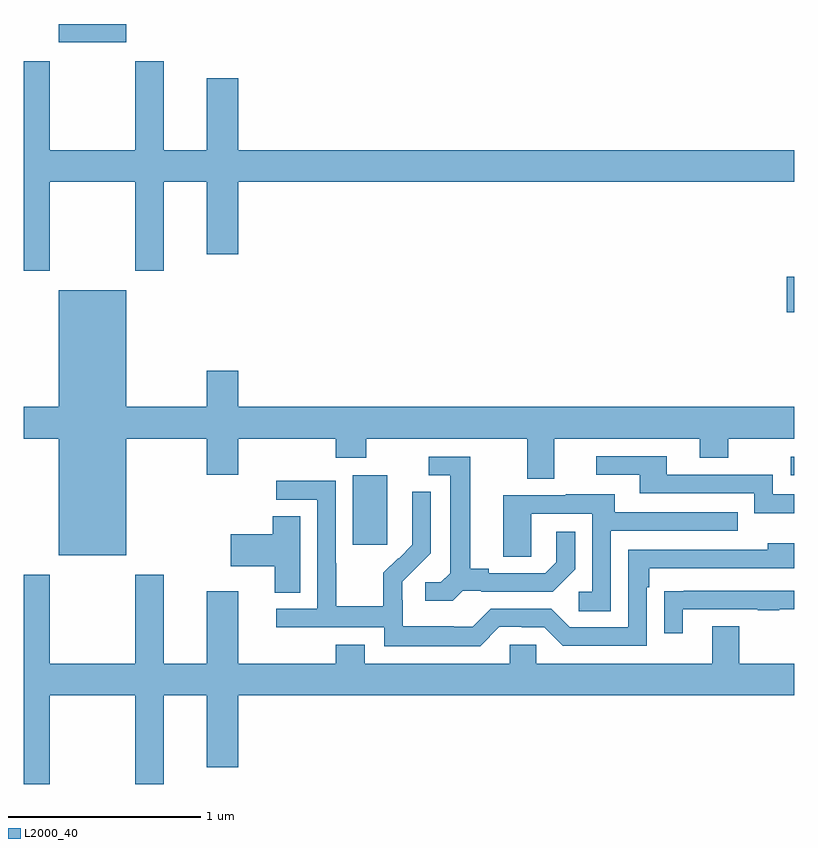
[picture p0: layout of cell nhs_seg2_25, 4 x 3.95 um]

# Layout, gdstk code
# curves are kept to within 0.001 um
import gdstk
lib = gdstk.Library(unit=1e-6, precision=1e-09)
def R(c, l, rs):  # rectangles x0, y0, x1, y1
    for r in rs: c.add(gdstk.rectangle(r[:2], r[2:], *l))
def P(c, l, *ps):  # polygons
    for p in ps: c.add(gdstk.Polygon(p, *l))
L2000_40 = (2000, 40)

nhs_seg2_25 = lib.new_cell('nhs_seg2_25')
R(nhs_seg2_25, L2000_40, [(112.709,635.097,112.888,635.458), (114.981,635.457,115,635.553), (114.96,636.305,115,636.488), (111.182,637.706,111.532,637.8)])
P(nhs_seg2_25, L2000_40, [(111.135,636.98),(111.58,636.98),(111.58,636.519),(111.727,636.519),(111.727,636.98),(111.95,636.98),(111.95,636.606),(112.114,636.606),(112.114,636.98),(115,636.98),(115,637.144),(112.114,637.144),(112.114,637.519),(111.95,637.519),(111.95,637.144),(111.727,637.144),(111.727,637.606),(111.58,637.606),(111.58,637.144),(111.135,637.144),(111.135,637.606),(111,637.606),(111,636.519),(111.135,636.519)],
  [(111.532,635.648),(111.95,635.648),(111.95,635.46),(112.114,635.46),(112.114,635.648),(112.619,635.648),(112.619,635.549),(112.779,635.549),(112.779,635.648),(113.615,635.648),(113.615,635.44),(113.755,635.44),(113.755,635.648),(114.509,635.648),(114.509,635.549),(114.657,635.549),(114.657,635.648),(115,635.648),(115,635.812),(112.114,635.812),(112.114,636.001),(111.95,636.001),(111.95,635.812),(111.532,635.812),(111.532,636.418),(111.182,636.418),(111.182,635.812),(111,635.812),(111,635.648),(111.182,635.648),(111.182,635.042),(111.532,635.042)],
  [(115,635.358),(114.888,635.358),(114.888,635.46),(114.337,635.46),(114.337,635.556),(113.973,635.556),(113.973,635.46),(114.197,635.46),(114.197,635.364),(114.792,635.364),(114.792,635.261),(115,635.261)],
  [(113.28,634.857),(113.374,634.857),(113.374,634.854),(113.746,634.854),(113.862,634.97),(113.862,635.164),(113.765,635.164),(113.765,635.007),(113.708,634.95),(113.413,634.95),(113.413,634.973),(113.317,634.973),(113.317,635.553),(113.103,635.553),(113.103,635.457),(113.213,635.457),(113.213,634.949),(113.166,634.902),(113.085,634.902),(113.085,634.805),(113.228,634.805)],
  [(113.469,634.671),(113.585,634.671),(113.585,634.668),(113.703,634.668),(113.799,634.572),(114.234,634.572),(114.234,634.877),(114.247,634.877),(114.247,634.974),(115,634.974),(115,635.104),(114.863,635.104),(114.863,635.07),(114.138,635.07),(114.138,634.668),(113.835,634.668),(113.739,634.764),(113.424,634.764),(113.331,634.671),(113.231,634.671),(113.231,634.675),(112.968,634.675),(112.968,634.809),(112.966,634.809),(112.966,634.906),(113.112,635.054),(113.112,635.372),(113.016,635.372),(113.016,635.218),(113.018,635.218),(113.018,635.096),(112.947,635.025),(112.944,635.028),(112.867,634.951),(112.867,634.777),(112.623,634.777),(112.623,635),(112.62,635),(112.62,635.43),(112.311,635.43),(112.311,635.331),(112.524,635.331),(112.524,634.764),(112.311,634.764),(112.311,634.668),(112.872,634.668),(112.872,634.571),(113.369,634.571)],
  [(114.048,635.169),(114.707,635.169),(114.707,635.265),(114.067,635.265),(114.067,635.359),(113.813,635.359),(113.813,635.355),(113.489,635.355),(113.489,635.035),(113.634,635.035),(113.634,635.259),(113.952,635.259),(113.952,634.854),(113.88,634.854),(113.88,634.753),(114.048,634.753)],
  [(112.435,635.246),(112.292,635.246),(112.292,635.151),(112.074,635.151),(112.074,634.985),(112.304,634.985),(112.304,634.849),(112.435,634.849)],
  [(111.135,634.316),(111.58,634.316),(111.58,633.855),(111.727,633.855),(111.727,634.316),(111.95,634.316),(111.95,633.942),(112.114,633.942),(112.114,634.316),(115,634.316),(115,634.48),(114.715,634.48),(114.715,634.675),(114.575,634.675),(114.575,634.48),(113.661,634.48),(113.661,634.578),(113.523,634.578),(113.523,634.48),(112.771,634.48),(112.771,634.579),(112.619,634.579),(112.619,634.48),(112.114,634.48),(112.114,634.855),(111.95,634.855),(111.95,634.48),(111.727,634.48),(111.727,634.942),(111.58,634.942),(111.58,634.48),(111.135,634.48),(111.135,634.942),(111,634.942),(111,633.855),(111.135,633.855)],
  [(114.421,634.761),(114.811,634.761),(114.811,634.756),(114.923,634.756),(114.923,634.761),(115,634.761),(115,634.857),(114.427,634.857),(114.427,634.856),(114.325,634.856),(114.325,634.638),(114.421,634.638)])

lib.write_gds('nhs_seg2_25.gds')
